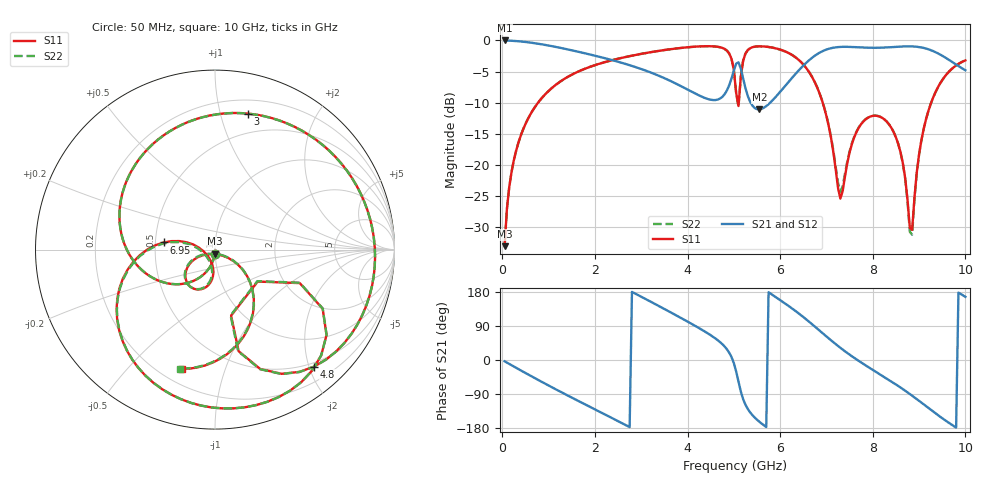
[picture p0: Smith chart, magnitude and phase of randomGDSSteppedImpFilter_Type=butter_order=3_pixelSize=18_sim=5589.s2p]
! freq	dB(S11)	phase(S11)	dB(S12)	phase(S12)
!  dB(S21)	phase(S21)	dB(S22)	phase(S22)
!S-par simulation data
#  GHz  S  DB  R 50
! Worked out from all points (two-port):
!   200 points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, 50 MHz to 10 GHz, reference 50 ohm
!   highest |S21| = -0.01 dB at 50 MHz (marker M1); lowest = -11.1 dB at 5.55 GHz (marker M2)
!   |S21| within 3 dB of the highest: start of sweep to 2.292 GHz; 6.653 GHz to 9.62 GHz (2.968 GHz wide, 36.5 % of centre)
!   lowest |S11| = -33.1 dB at 50 MHz (marker M3), VSWR 1.05, Z = 49.8 - j2.21 ohm
!   |S11| at or under -10 dB: start of sweep to 773.3 MHz; 5.087097 GHz to 5.105839 GHz (18.74 MHz wide, 0.368 % of centre); 6.918 GHz to 9.261 GHz (2.343 GHz wide, 29 % of centre)
!   |S22| runs from -33.1 to -0.9 dB; largest |S21 - S12| = 0
!   S11 on the Smith chart (normalised r, x): 50 MHz: 1.00, -0.04; 3 GHz: 0.32, +1.22; 4.8 GHz: 0.43, -2.09; 6.95 GHz: 0.55, +0.05; 10 GHz: 0.28, -0.72
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0.05  -33.06 -93.4  -0.01 -3.5  -0.01 -3.5  -33.06 -93.4
0.2  -21.12 -104.1  -0.06 -13.8  -0.06 -13.8  -21.12 -104.1
0.5  -13.44 -124.8  -0.25 -34.3  -0.25 -34.3  -13.44 -124.8
1.1  -7.46 -164.4  -0.96 -73.8  -0.96 -73.8  -7.46 -164.5
1.75  -4.65 154.6  -2.01 -114.8  -2.01 -114.8  -4.66 154.5
3  -2.16 76.4  -4.59 167.0  -4.59 167.0  -2.16 76.2
3.4  -1.66 50.6  -5.74 141.2  -5.74 141.2  -1.66 50.5
4.2  -0.99 -2.5  -8.66 87.6  -8.66 87.6  -0.99 -2.6
4.8  -1.37 -49.7  -8.66 35.7  -8.66 35.7  -1.37 -49.8
5.05  -8.44 -76.3  -3.74 -30.2  -3.74 -30.2  -8.48 -76.7
5.15  -5.88 -21.6  -4.51 -83.0  -4.51 -83.0  -5.91 -21.3
5.25  -2.12 -37.5  -7.65 -117.9  -7.65 -117.9  -2.13 -37.4
5.55  -0.95 -71.0  -11.08 -162.9  -11.08 -162.9  -0.95 -71.0
6.25  -2.31 -127.0  -6.08 136.7  -6.08 136.7  -2.30 -126.8
6.7  -6.02 -167.0  -2.72 93.4  -2.72 93.4  -6.00 -166.4
6.95  -10.78 172.1  -1.61 67.3  -1.61 67.3  -10.72 173.4
7.3  -25.42 -144.7  -1.05 32.2  -1.05 32.2  -24.34 -145.0
7.7  -13.99 -100.3  -1.11 -2.7  -1.11 -2.7  -13.94 -102.2
8.35  -13.48 -140.8  -1.11 -52.7  -1.11 -52.7  -13.47 -142.3
8.85  -30.44 -66.7  -0.96 -94.2  -0.96 -94.2  -31.22 -64.9
9.2  -11.35 -43.3  -1.42 -126.4  -1.42 -126.4  -11.36 -43.3
10  -3.21 -105.6  -4.79 166.7  -4.79 166.7  -3.22 -106.2
